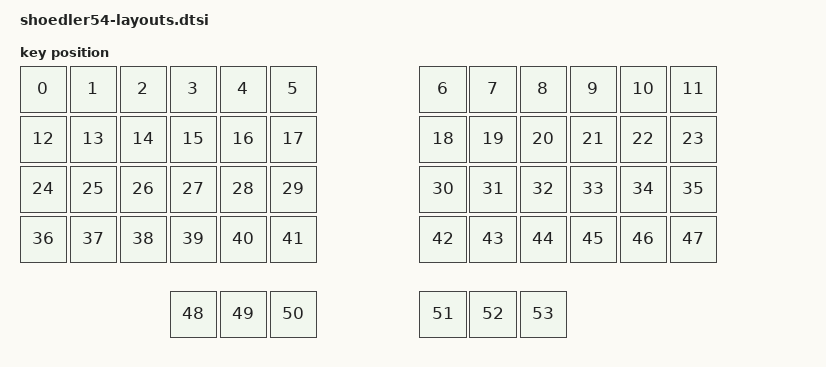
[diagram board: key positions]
#include <physical_layouts.dtsi>

/ {
    shoedler54_layout: shoedler54_layout {
        compatible = "zmk,physical-layout";
        display-name = "Shoedler54";
        keys
            // Row 0
            = <&key_physical_attrs 100 100    0    0   0 0 0>
            , <&key_physical_attrs 100 100  100    0   0 0 0>
            , <&key_physical_attrs 100 100  200    0   0 0 0>
            , <&key_physical_attrs 100 100  300    0   0 0 0>
            , <&key_physical_attrs 100 100  400    0   0 0 0>
            , <&key_physical_attrs 100 100  500    0   0 0 0>
            , <&key_physical_attrs 100 100  800    0   0 0 0>
            , <&key_physical_attrs 100 100  900    0   0 0 0>
            , <&key_physical_attrs 100 100 1000    0   0 0 0>
            , <&key_physical_attrs 100 100 1100    0   0 0 0>
            , <&key_physical_attrs 100 100 1200    0   0 0 0>
            , <&key_physical_attrs 100 100 1300    0   0 0 0>
            // Row 1
            , <&key_physical_attrs 100 100    0  100   0 0 0>
            , <&key_physical_attrs 100 100  100  100   0 0 0>
            , <&key_physical_attrs 100 100  200  100   0 0 0>
            , <&key_physical_attrs 100 100  300  100   0 0 0>
            , <&key_physical_attrs 100 100  400  100   0 0 0>
            , <&key_physical_attrs 100 100  500  100   0 0 0>
            , <&key_physical_attrs 100 100  800  100   0 0 0>
            , <&key_physical_attrs 100 100  900  100   0 0 0>
            , <&key_physical_attrs 100 100 1000  100   0 0 0>
            , <&key_physical_attrs 100 100 1100  100   0 0 0>
            , <&key_physical_attrs 100 100 1200  100   0 0 0>
            , <&key_physical_attrs 100 100 1300  100   0 0 0>
            // Row 2
            , <&key_physical_attrs 100 100    0  200   0 0 0>
            , <&key_physical_attrs 100 100  100  200   0 0 0>
            , <&key_physical_attrs 100 100  200  200   0 0 0>
            , <&key_physical_attrs 100 100  300  200   0 0 0>
            , <&key_physical_attrs 100 100  400  200   0 0 0>
            , <&key_physical_attrs 100 100  500  200   0 0 0>
            , <&key_physical_attrs 100 100  800  200   0 0 0>
            , <&key_physical_attrs 100 100  900  200   0 0 0>
            , <&key_physical_attrs 100 100 1000  200   0 0 0>
            , <&key_physical_attrs 100 100 1100  200   0 0 0>
            , <&key_physical_attrs 100 100 1200  200   0 0 0>
            , <&key_physical_attrs 100 100 1300  200   0 0 0>
            // Row 3
            , <&key_physical_attrs 100 100    0  300   0 0 0>
            , <&key_physical_attrs 100 100  100  300   0 0 0>
            , <&key_physical_attrs 100 100  200  300   0 0 0>
            , <&key_physical_attrs 100 100  300  300   0 0 0>
            , <&key_physical_attrs 100 100  400  300   0 0 0>
            , <&key_physical_attrs 100 100  500  300   0 0 0>
            , <&key_physical_attrs 100 100  800  300   0 0 0>
            , <&key_physical_attrs 100 100  900  300   0 0 0>
            , <&key_physical_attrs 100 100 1000  300   0 0 0>
            , <&key_physical_attrs 100 100 1100  300   0 0 0>
            , <&key_physical_attrs 100 100 1200  300   0 0 0>
            , <&key_physical_attrs 100 100 1300  300   0 0 0>
            // Thumbs
            , <&key_physical_attrs 100 100  300  450   0 0 0>
            , <&key_physical_attrs 100 100  400  450   0 0 0>
            , <&key_physical_attrs 100 100  500  450   0 0 0>
            , <&key_physical_attrs 100 100  800  450   0 0 0>
            , <&key_physical_attrs 100 100  900  450   0 0 0>
            , <&key_physical_attrs 100 100 1000  450   0 0 0>
            ;
    };
};
